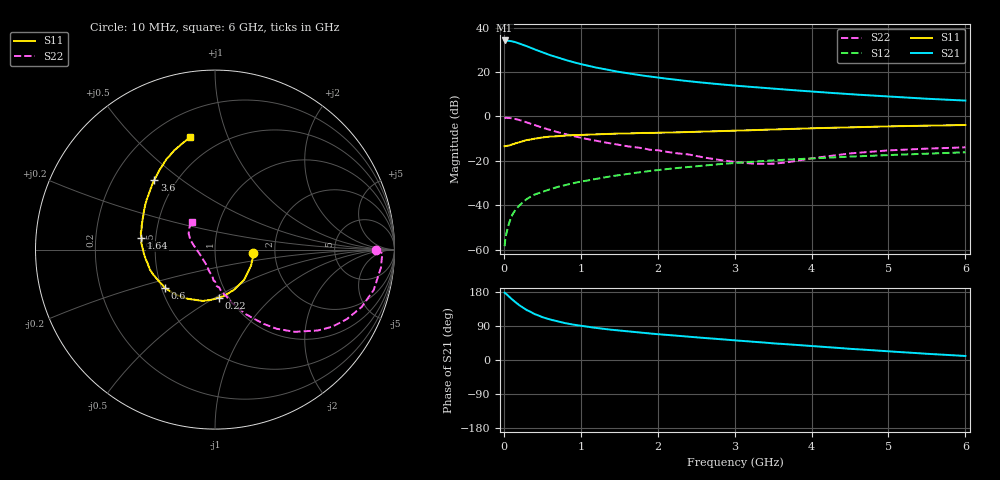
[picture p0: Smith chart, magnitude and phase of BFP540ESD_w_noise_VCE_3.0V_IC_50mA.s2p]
! Infineon Technologies  Discrete & RF Semiconductors
! BFP540ESD
! VCE =  3.0 V,  IC =  50 mA
! Common Emitter S-Parameters:  Nov 2015
# GHz  S  MA  R  50
!  f  S11  S21  S12  S22
! GHz  MAG  ANG  MAG  ANG  MAG  ANG  MAG  ANG
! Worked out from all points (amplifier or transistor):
!   210 points, 10 MHz to 6 GHz, reference 50 ohm
!   highest |S21| = 34.2 dB at 10 MHz (marker M1)
!   |S21| within 3 dB of that: start of sweep to 327.3 MHz
!   unconditionally stable (mu >= 1): start of sweep to 15 MHz; 1.506 GHz to end of sweep
!   at 185 MHz: K = 0.36, MSG = 36.9 dB, |S12| = -40.7 dB
!   at 1.52 GHz: K = 1.00, MAG = 22.8 dB, |S12| = -26.3 dB
!   at 6 GHz: K = 1.10, MAG = 9.7 dB, |S12| = -16.2 dB
!   lowest NFmin = 1.82 dB at 900 MHz
!   S11 on the Smith chart (normalised r, x): 10 MHz: 1.54, -0.05; 220 MHz: 0.91, -0.52; 600 MHz: 0.52, -0.25; 1.64 GHz: 0.42, +0.07; 3.6 GHz: 0.38, +0.40; 6 GHz: 0.35, +0.74
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0.01  0.2125 -4.4  51.22 177.8  0.0012 111.1  0.8957 -0.2
0.02  0.2155 -10.5  50.52 176.4  0.0018 100.2  0.9325 -1.2
0.05  0.2195 -23.8  50.71 170.6  0.003 89.2  0.9298 -6.2
0.11  0.2343 -49.5  48.78 159.6  0.0061 80.6  0.9045 -15.7
0.15  0.2476 -64.5  46.96 152.6  0.0079 80.8  0.8778 -21.3
0.2  0.2636 -79.6  44.01 144.7  0.0098 75.2  0.8305 -27.8
0.22  0.268 -85.0  42.7 142.0  0.0106 73.0  0.8105 -29.9
0.3  0.2942 -103.4  37.9 131.5  0.0139 71.5  0.73 -38.1
0.4  0.3162 -120.4  32.28 121.2  0.0174 67.7  0.6381 -45.9
0.5  0.3374 -133.4  27.78 113.1  0.0201 67.4  0.5588 -52.1
0.6  0.3512 -142.9  23.98 106.8  0.0228 65.6  0.4942 -56.8
0.7  0.3592 -150.8  21.08 101.6  0.0259 66.9  0.4421 -60.6
0.8  0.3705 -157.5  18.63 97.2  0.0284 66.8  0.3981 -64.5
1.02  0.3834 -168.5  14.78 89.6  0.0345 66.2  0.3253 -70.5
1.3  0.3993 -178.6  11.61 82.2  0.0422 64.7  0.2624 -76.8
1.64  0.4148 170.9  9.176 74.8  0.0515 62.1  0.2089 -85.1
2.02  0.4298 161.8  7.406 67.8  0.0623 59.7  0.1708 -92.9
3.1  0.4824 139.8  4.782 50.5  0.0918 50.3  0.0907 -128.9
3.6  0.5149 131.0  4.085 42.7  0.1047 45.3  0.0893 -164.4
4.1  0.5456 123.7  3.534 35.3  0.1154 40.4  0.1197 169.2
5.1  0.6015 111.2  2.742 21.6  0.1369 30.8  0.1747 146.7
6  0.6404 102.5  2.271 10.6  0.1557 23.4  0.2016 129.8
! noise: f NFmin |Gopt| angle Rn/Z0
0.9  1.82  0.49  -140  0.15
1.8  1.97  0.51  -142  0.15
2.4  2.02  0.52  -132  0.19
3  2.14  0.54  -123  0.26
4  2.19  0.61  -102  0.45
5  2.28  0.69  -86  0.67
6  2.72  0.63  -83  1.04
